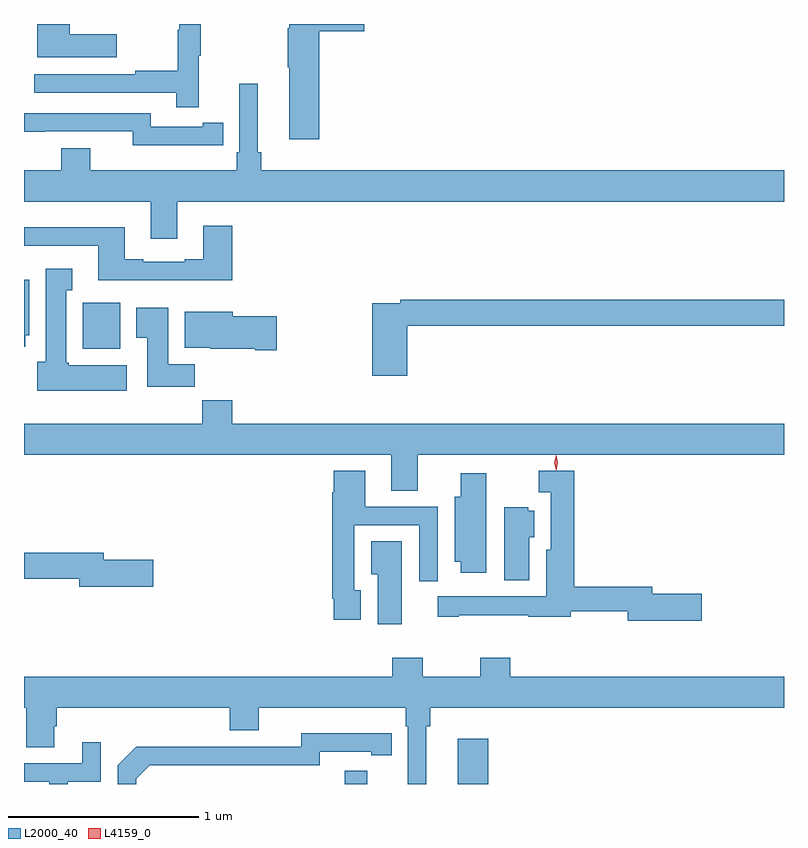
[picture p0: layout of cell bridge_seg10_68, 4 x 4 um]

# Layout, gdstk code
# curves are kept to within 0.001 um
import gdstk
lib = gdstk.Library(unit=1e-6, precision=1e-09)
def R(c, l, rs):  # rectangles x0, y0, x1, y1
    for r in rs: c.add(gdstk.rectangle(r[:2], r[2:], *l))
def P(c, l, *ps):  # polygons
    for p in ps: c.add(gdstk.Polygon(p, *l))
L2000_40 = (2000, 40)
L4159_0 = (4159, 0)

bridge_seg10_68 = lib.new_cell('bridge_seg10_68')
R(bridge_seg10_68, L2000_40, [(781.237,1249.299,781.355,1249.369), (781.832,1249.299,781.991,1249.537), (779.858,1251.59,780.055,1251.832)])
P(bridge_seg10_68, L2000_40, [(780.467,1253.131),(780.478,1253.131),(780.478,1253.299),(780.364,1253.299),(780.364,1253.268),(780.357,1253.268),(780.357,1253.054),(780.133,1253.054),(780.133,1253.034),(779.601,1253.034),(779.601,1252.938),(780.349,1252.938),(780.349,1252.86),(780.467,1252.86)],
  [(781.103,1253.261),(781.339,1253.261),(781.339,1253.299),(780.944,1253.299),(780.944,1253.277),(780.937,1253.277),(780.937,1253.071),(780.944,1253.071),(780.944,1252.692),(781.103,1252.692)],
  [(780.037,1253.245),(779.789,1253.245),(779.789,1253.299),(779.618,1253.299),(779.618,1253.123),(780.037,1253.123)],
  [(780.355,1252.364),(783.548,1252.364),(783.548,1252.528),(780.797,1252.528),(780.797,1252.624),(780.778,1252.624),(780.778,1252.984),(780.681,1252.984),(780.681,1252.624),(780.668,1252.624),(780.668,1252.528),(779.896,1252.528),(779.896,1252.645),(779.744,1252.645),(779.744,1252.528),(779.548,1252.528),(779.548,1252.364),(780.215,1252.364),(780.215,1252.17),(780.355,1252.17)],
  [(780.488,1252.662),(780.596,1252.662),(780.596,1252.778),(780.488,1252.778),(780.488,1252.758),(780.216,1252.758),(780.216,1252.83),(779.548,1252.83),(779.548,1252.733),(779.66,1252.733),(779.66,1252.734),(780.12,1252.734),(780.12,1252.661),(780.488,1252.661)],
  [(780.644,1252.237),(780.491,1252.237),(780.491,1252.06),(780.395,1252.06),(780.395,1252.047),(780.175,1252.047),(780.175,1252.06),(780.079,1252.06),(780.079,1252.228),(779.548,1252.228),(779.548,1252.131),(779.939,1252.131),(779.939,1251.95),(780.644,1251.95)],
  [(780.088,1251.502),(779.784,1251.502),(779.784,1251.516),(779.77,1251.516),(779.77,1251.899),(779.803,1251.899),(779.803,1252.012),(779.663,1252.012),(779.663,1251.522),(779.618,1251.522),(779.618,1251.368),(780.088,1251.368)],
  [(779.554,1251.66),(779.575,1251.66),(779.575,1251.952),(779.548,1251.952),(779.548,1251.6),(779.554,1251.6)],
  [(781.565,1251.712),(783.548,1251.712),(783.548,1251.848),(781.528,1251.848),(781.528,1251.828),(781.382,1251.828),(781.382,1251.447),(781.565,1251.447)],
  [(780.446,1251.508),(780.307,1251.508),(780.307,1251.805),(780.14,1251.805),(780.14,1251.649),(780.197,1251.649),(780.197,1251.39),(780.446,1251.39)],
  [(780.877,1251.761),(780.646,1251.761),(780.646,1251.784),(780.395,1251.784),(780.395,1251.596),(780.528,1251.596),(780.528,1251.59),(780.764,1251.59),(780.764,1251.583),(780.877,1251.583)],
  [(781.621,1251.032),(783.548,1251.032),(783.548,1251.196),(780.644,1251.196),(780.644,1251.32),(780.487,1251.32),(780.487,1251.196),(779.548,1251.196),(779.548,1251.032),(781.481,1251.032),(781.481,1250.842),(781.621,1250.842)],
  [(783.115,1250.3),(782.854,1250.3),(782.854,1250.336),(782.443,1250.336),(782.443,1250.947),(782.256,1250.947),(782.256,1250.834),(782.321,1250.834),(782.321,1250.532),(782.297,1250.532),(782.297,1250.286),(781.725,1250.286),(781.725,1250.178),(781.837,1250.178),(781.837,1250.188),(782.201,1250.188),(782.201,1250.178),(782.425,1250.178),(782.425,1250.208),(782.726,1250.208),(782.726,1250.158),(783.115,1250.158)],
  [(781.321,1250.319),(781.287,1250.319),(781.287,1250.661),(781.629,1250.661),(781.629,1250.367),(781.725,1250.367),(781.725,1250.757),(781.345,1250.757),(781.345,1250.947),(781.178,1250.947),(781.178,1250.834),(781.171,1250.834),(781.171,1250.275),(781.179,1250.275),(781.179,1250.163),(781.321,1250.163)],
  [(781.981,1250.935),(781.847,1250.935),(781.847,1250.812),(781.814,1250.812),(781.814,1250.468),(781.847,1250.468),(781.847,1250.412),(781.981,1250.412)],
  [(782.206,1250.598),(782.233,1250.598),(782.233,1250.738),(782.202,1250.738),(782.202,1250.755),(782.075,1250.755),(782.075,1250.371),(782.206,1250.371)],
  [(781.537,1250.576),(781.376,1250.576),(781.376,1250.402),(781.409,1250.402),(781.409,1250.139),(781.537,1250.139)],
  [(780.229,1250.48),(779.968,1250.48),(779.968,1250.516),(779.548,1250.516),(779.548,1250.38),(779.84,1250.38),(779.84,1250.338),(780.229,1250.338)],
  [(781.666,1249.604),(781.685,1249.604),(781.685,1249.7),(783.548,1249.7),(783.548,1249.864),(782.108,1249.864),(782.108,1249.963),(781.948,1249.963),(781.948,1249.864),(781.647,1249.864),(781.647,1249.963),(781.487,1249.963),(781.487,1249.864),(779.548,1249.864),(779.548,1249.7),(779.56,1249.7),(779.56,1249.492),(779.707,1249.492),(779.707,1249.602),(779.72,1249.602),(779.72,1249.7),(780.632,1249.7),(780.632,1249.583),(780.784,1249.583),(780.784,1249.7),(781.556,1249.7),(781.556,1249.604),(781.569,1249.604),(781.569,1249.299),(781.666,1249.299)],
  [(780.138,1249.326),(780.21,1249.398),(781.104,1249.398),(781.104,1249.47),(781.376,1249.47),(781.376,1249.45),(781.484,1249.45),(781.484,1249.566),(781.008,1249.567),(781.008,1249.494),(780.548,1249.494),(780.548,1249.496),(780.14,1249.496),(780.042,1249.398),(780.042,1249.299),(780.138,1249.299)],
  [(779.778,1249.311),(779.952,1249.311),(779.952,1249.519),(779.855,1249.519),(779.855,1249.407),(779.548,1249.407),(779.548,1249.311),(779.682,1249.311),(779.682,1249.299),(779.778,1249.299)])
P(bridge_seg10_68, L4159_0, [(782.348,1250.948),(782.348,1250.948),(782.338,1250.989),(782.348,1251.029),(782.348,1251.029),(782.348,1251.029),(782.358,1250.989),(782.348,1250.948)])

lib.write_gds('bridge_seg10_68.gds')
